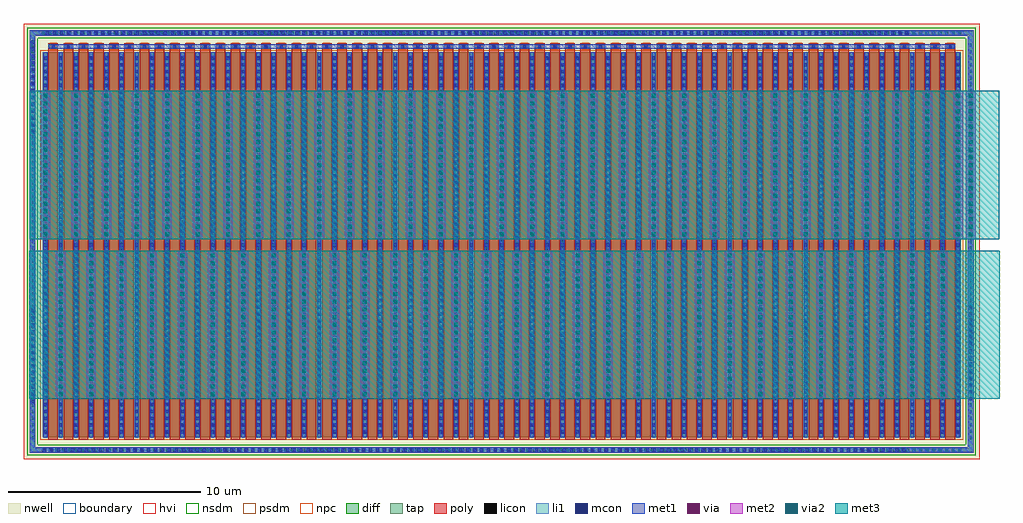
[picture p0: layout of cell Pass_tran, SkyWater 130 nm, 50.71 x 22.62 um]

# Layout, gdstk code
import gdstk
lib = gdstk.Library(unit=1e-6, precision=1e-09)
def R(c, l, rs):  # rectangles x0, y0, x1, y1
    for r in rs: c.add(gdstk.rectangle(r[:2], r[2:], *l))
def A(c, l, x, y, w, h, nx, ny, dx, dy):  # array of equal rectangles
    R(c, l, [(x+i*dx, y+j*dy, x+i*dx+w, y+j*dy+h) for i in range(nx) for j in range(ny)])
def P(c, l, *ps):  # polygons
    for p in ps: c.add(gdstk.Polygon(p, *l))
nwell = (64, 20)
diff = (65, 20)
tap = (65, 44)
poly = (66, 20)
licon = (66, 44)
li1 = (67, 20)
mcon = (67, 44)
met1 = (68, 20)
via = (68, 44)
met2 = (69, 20)
via2 = (69, 44)
met3 = (70, 20)
hvi = (75, 20)
nsdm = (93, 44)
psdm = (94, 20)
npc = (95, 20)
boundary = (235, 4)

sky130_fd_pr__pfet_g5v0d = lib.new_cell('sky130_fd_pr__pfet_g5v0d10v5_6F7NEB')
R(sky130_fd_pr__pfet_g5v0d, nwell, [(-24.845,-11.31,24.845,11.31)])
R(sky130_fd_pr__pfet_g5v0d, diff, [(-23.845,-10.18,23.845,9.82)])
R(sky130_fd_pr__pfet_g5v0d, tap, [(-24.515,-10.98,24.515,-10.69), (-24.515,-10.69,-24.225,10.69), (24.225,-10.69,24.515,10.69), (-24.515,10.69,24.515,10.98)])
A(sky130_fd_pr__pfet_g5v0d, poly, -23.555, -10.31, 0.5, 20.615, 60, 1, 0.79, 0)
A(sky130_fd_pr__pfet_g5v0d, licon, -23.885, -10.92, 0.17, 0.17, 141, 2, 0.34, 21.67)
A(sky130_fd_pr__pfet_g5v0d, licon, -24.455, -10.285, 0.17, 0.17, 1, 61, 0, 0.34)
A(sky130_fd_pr__pfet_g5v0d, licon, 24.285, -10.285, 0.17, 0.17, 1, 61, 0, 0.34)
A(sky130_fd_pr__pfet_g5v0d, licon, -23.785, -9.955, 0.17, 0.17, 61, 58, 0.79, 0.34)
A(sky130_fd_pr__pfet_g5v0d, licon, -23.39, 10.055, 0.17, 0.17, 60, 1, 0.79, 0)
A(sky130_fd_pr__pfet_g5v0d, li1, -23.785, -10.2, 0.17, 20.04, 61, 1, 0.79, 0)
A(sky130_fd_pr__pfet_g5v0d, li1, -23.555, 10.055, 0.5, 0.17, 60, 1, 0.79, 0)
R(sky130_fd_pr__pfet_g5v0d, li1, [(-24.455,-10.75,-24.285,10.75), (24.285,-10.75,24.455,10.75), (-24.455,10.75,24.455,10.92)])
P(sky130_fd_pr__pfet_g5v0d, li1, [(-24.455,-10.92),(-24.455,-10.75),(22.455,-10.75),(24.455,-10.75),(24.455,-10.92)])
A(sky130_fd_pr__pfet_g5v0d, mcon, -23.785, -9.985, 0.17, 0.17, 61, 55, 0.79, 0.36)
A(sky130_fd_pr__pfet_g5v0d, mcon, -23.39, 10.055, 0.17, 0.17, 60, 1, 0.79, 0)
A(sky130_fd_pr__pfet_g5v0d, met1, -23.815, -10.18, 0.23, 20, 61, 1, 0.79, 0)
A(sky130_fd_pr__pfet_g5v0d, met1, -23.535, 10.025, 0.46, 0.23, 60, 1, 0.79, 0)
R(sky130_fd_pr__pfet_g5v0d, hvi, [(-24.845,-11.31,24.845,11.31)])
R(sky130_fd_pr__pfet_g5v0d, nsdm, [(-24.64,-11.105,24.64,-10.565), (-24.64,-10.565,-24.1,10.565), (24.1,-10.565,24.64,10.565), (-24.64,10.565,24.64,11.105)])
R(sky130_fd_pr__pfet_g5v0d, psdm, [(-23.97,-10.305,23.97,9.945)])
A(sky130_fd_pr__pfet_g5v0d, npc, -23.49, 9.955, 0.37, 0.37, 60, 1, 0.79, 0)
R(sky130_fd_pr__pfet_g5v0d, boundary, [(-24.37,-10.835,24.37,10.835)])

via_17 = lib.new_cell('via$17')
R(via_17, via, [(0,0,0.15,0.15)])

via2_28 = lib.new_cell('via2$28')
R(via2_28, via2, [(0,0,0.2,0.2)])

via_new_1 = lib.new_cell('via_new$1')
via_new_1.add(gdstk.FlexPath([(0,0),(0.5,0)], 7.7, ends="flush", simple_path=True, layer=68, datatype=20))  # met1
via_new_1.add(gdstk.FlexPath([(0,0),(0.5,0)], 7.7, ends="flush", simple_path=True, layer=69, datatype=20))  # met2
via_new_1.add(gdstk.FlexPath([(0,0),(0.5,0)], 7.7, ends="flush", simple_path=True, layer=70, datatype=20))  # met3
r = gdstk.Reference(via_17, (0.175,-3.755)); r.repetition = gdstk.Repetition(1, 24, v1=(0,0), v2=(0,0.32)); via_new_1.add(r)
r = gdstk.Reference(via2_28, (0.15,-3.7)); r.repetition = gdstk.Repetition(1, 19, v1=(0,0), v2=(0,0.4)); via_new_1.add(r)

mcon_9 = lib.new_cell('mcon$9')
R(mcon_9, mcon, [(0,0,0.17,0.17)])

via_19 = lib.new_cell('via$19')
R(via_19, via, [(0,0,0.15,0.15)])

via2_30 = lib.new_cell('via2$30')
R(via2_30, via2, [(0,0,0.2,0.2)])

via_new = lib.new_cell('via_new')
via_new.add(gdstk.FlexPath([(0,0),(0.5,0)], 7.7, ends="flush", simple_path=True, layer=67, datatype=20))  # li1
via_new.add(gdstk.FlexPath([(0,0),(0.5,0)], 7.7, ends="flush", simple_path=True, layer=68, datatype=20))  # met1
via_new.add(gdstk.FlexPath([(0,0),(0.5,0)], 7.7, ends="flush", simple_path=True, layer=69, datatype=20))  # met2
via_new.add(gdstk.FlexPath([(0,0),(0.5,0)], 7.7, ends="flush", simple_path=True, layer=70, datatype=20))  # met3
r = gdstk.Reference(mcon_9, (0.165,-3.685)); r.repetition = gdstk.Repetition(1, 21, v1=(0,0), v2=(0,0.36)); via_new.add(r)
r = gdstk.Reference(via_19, (0.175,-3.755)); r.repetition = gdstk.Repetition(1, 24, v1=(0,0), v2=(0,0.32)); via_new.add(r)
r = gdstk.Reference(via2_30, (0.15,-3.7)); r.repetition = gdstk.Repetition(1, 19, v1=(0,0), v2=(0,0.4)); via_new.add(r)

mcon_13 = lib.new_cell('mcon$13')
R(mcon_13, mcon, [(0,0,0.17,0.17)])

via_new_3 = lib.new_cell('via_new$3')
via_new_3.add(gdstk.FlexPath([(0,0),(0.29,0)], 5, ends="flush", simple_path=True, layer=67, datatype=20))  # li1
via_new_3.add(gdstk.FlexPath([(0,0),(0.29,0)], 5, ends="flush", simple_path=True, layer=68, datatype=20))  # met1
r = gdstk.Reference(mcon_13, (0.06,-2.425)); r.repetition = gdstk.Repetition(1, 14, v1=(0,0), v2=(0,0.36)); via_new_3.add(r)

mcon_17 = lib.new_cell('mcon$17')
R(mcon_17, mcon, [(0,0,0.17,0.17)])

via_new_2 = lib.new_cell('via_new$2')
via_new_2.add(gdstk.FlexPath([(0,0),(45,0)], 0.29, ends="flush", simple_path=True, layer=67, datatype=20))  # li1
via_new_2.add(gdstk.FlexPath([(0,0),(45,0)], 0.29, ends="flush", simple_path=True, layer=68, datatype=20))  # met1
r = gdstk.Reference(mcon_17, (0.095,-0.085)); r.repetition = gdstk.Repetition(125, 1, v1=(0.36,0), v2=(0,0)); via_new_2.add(r)

pass_tran = lib.new_cell('Pass_tran')
R(pass_tran, met1, [(0.835,20.86,47.905,21.09)])
P(pass_tran, met1, [(46.78,0.085),(46.78,0.085),(46.78,0.085),(46.78,0.085)])
R(pass_tran, met3, [(-0.175,2.655,50.235,10.355), (-0.15,10.955,50.23,18.655)])
pass_tran.add(gdstk.FlexPath([(0,0),(0,21.67),(48.74,21.67),(48.74,0),(-0.145,0)], 0.29, ends="flush", simple_path=True, layer=68, datatype=20))  # met1
pass_tran.add(gdstk.Reference(sky130_fd_pr__pfet_g5v0d, (24.37,10.835)))
pass_tran.add(gdstk.Reference(via_new_1, (2,14.805)))
pass_tran.add(gdstk.Reference(via_new_1, (0.42,14.805)))
pass_tran.add(gdstk.Reference(via_new_1, (2,14.805)))
pass_tran.add(gdstk.Reference(via_new_1, (3.58,14.805)))
pass_tran.add(gdstk.Reference(via_new_1, (5.16,14.805)))
pass_tran.add(gdstk.Reference(via_new_1, (6.74,14.805)))
pass_tran.add(gdstk.Reference(via_new_1, (8.32,14.805)))
pass_tran.add(gdstk.Reference(via_new_1, (9.9,14.805)))
pass_tran.add(gdstk.Reference(via_new_1, (11.48,14.805)))
pass_tran.add(gdstk.Reference(via_new_1, (13.06,14.805)))
pass_tran.add(gdstk.Reference(via_new_1, (14.64,14.805)))
pass_tran.add(gdstk.Reference(via_new_1, (16.22,14.805)))
pass_tran.add(gdstk.Reference(via_new_1, (17.8,14.805)))
pass_tran.add(gdstk.Reference(via_new_1, (19.38,14.805)))
pass_tran.add(gdstk.Reference(via_new_1, (20.96,14.805)))
pass_tran.add(gdstk.Reference(via_new_1, (22.54,14.805)))
pass_tran.add(gdstk.Reference(via_new_1, (24.12,14.805)))
pass_tran.add(gdstk.Reference(via_new_1, (25.7,14.805)))
pass_tran.add(gdstk.Reference(via_new_1, (27.28,14.805)))
pass_tran.add(gdstk.Reference(via_new_1, (28.86,14.805)))
pass_tran.add(gdstk.Reference(via_new_1, (30.44,14.805)))
pass_tran.add(gdstk.Reference(via_new_1, (32.02,14.805)))
pass_tran.add(gdstk.Reference(via_new_1, (33.6,14.805)))
pass_tran.add(gdstk.Reference(via_new_1, (35.18,14.805)))
pass_tran.add(gdstk.Reference(via_new_1, (36.76,14.805)))
pass_tran.add(gdstk.Reference(via_new_1, (38.34,14.805)))
pass_tran.add(gdstk.Reference(via_new_1, (39.92,14.805)))
pass_tran.add(gdstk.Reference(via_new_1, (41.5,14.805)))
pass_tran.add(gdstk.Reference(via_new_1, (43.08,14.805)))
pass_tran.add(gdstk.Reference(via_new_1, (44.66,14.805)))
pass_tran.add(gdstk.Reference(via_new_1, (46.24,14.805)))
pass_tran.add(gdstk.Reference(via_new_1, (47.82,14.805)))
pass_tran.add(gdstk.Reference(via_new, (48.49,14.805)))
pass_tran.add(gdstk.Reference(via_new_1, (1.21,6.505)))
pass_tran.add(gdstk.Reference(via_new_1, (2.79,6.505)))
pass_tran.add(gdstk.Reference(via_new_1, (4.37,6.505)))
pass_tran.add(gdstk.Reference(via_new_1, (5.95,6.505)))
pass_tran.add(gdstk.Reference(via_new_1, (7.53,6.505)))
pass_tran.add(gdstk.Reference(via_new_1, (9.11,6.505)))
pass_tran.add(gdstk.Reference(via_new_1, (10.69,6.505)))
pass_tran.add(gdstk.Reference(via_new_1, (12.27,6.505)))
pass_tran.add(gdstk.Reference(via_new_1, (13.85,6.505)))
pass_tran.add(gdstk.Reference(via_new_1, (15.43,6.505)))
pass_tran.add(gdstk.Reference(via_new_1, (17.01,6.505)))
pass_tran.add(gdstk.Reference(via_new_1, (18.59,6.505)))
pass_tran.add(gdstk.Reference(via_new_1, (20.17,6.505)))
pass_tran.add(gdstk.Reference(via_new_1, (21.75,6.505)))
pass_tran.add(gdstk.Reference(via_new_1, (23.33,6.505)))
pass_tran.add(gdstk.Reference(via_new_1, (24.91,6.505)))
pass_tran.add(gdstk.Reference(via_new_1, (26.49,6.505)))
pass_tran.add(gdstk.Reference(via_new_1, (28.07,6.505)))
pass_tran.add(gdstk.Reference(via_new_1, (29.65,6.505)))
pass_tran.add(gdstk.Reference(via_new_1, (31.23,6.505)))
pass_tran.add(gdstk.Reference(via_new_1, (32.81,6.505)))
pass_tran.add(gdstk.Reference(via_new_1, (34.39,6.505)))
pass_tran.add(gdstk.Reference(via_new_1, (35.97,6.505)))
pass_tran.add(gdstk.Reference(via_new_1, (37.55,6.505)))
pass_tran.add(gdstk.Reference(via_new_1, (39.13,6.505)))
pass_tran.add(gdstk.Reference(via_new_1, (40.71,6.505)))
pass_tran.add(gdstk.Reference(via_new_1, (42.29,6.505)))
pass_tran.add(gdstk.Reference(via_new_1, (43.87,6.505)))
pass_tran.add(gdstk.Reference(via_new_1, (45.45,6.505)))
pass_tran.add(gdstk.Reference(via_new_1, (47.03,6.505)))
pass_tran.add(gdstk.Reference(via_new_3, (-0.145,18.86)))
pass_tran.add(gdstk.Reference(via_new_3, (48.595,5.005)))
pass_tran.add(gdstk.Reference(via_new_3, (-0.145,4.88)))
pass_tran.add(gdstk.Reference(via_new_2, (0.59,21.67)))
pass_tran.add(gdstk.Reference(via_new_2, (0.455,0)))

lib.write_gds('Pass_tran.gds')
